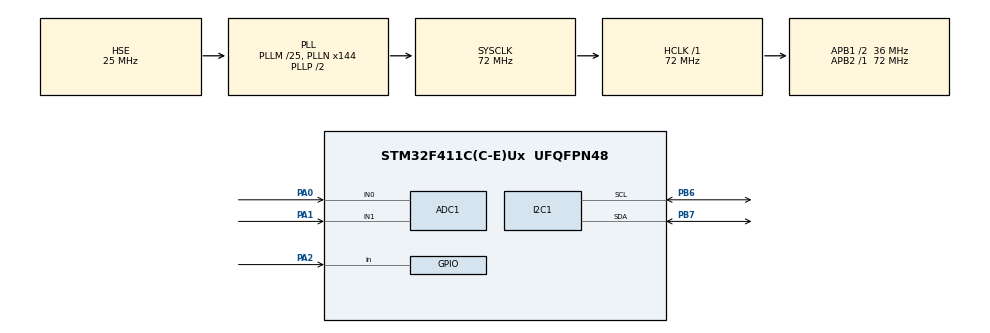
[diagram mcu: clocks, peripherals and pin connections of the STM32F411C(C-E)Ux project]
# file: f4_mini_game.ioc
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ADC1.Channel-0\#ChannelRegularConversion=ADC_CHANNEL_0
ADC1.Channel-1\#ChannelRegularConversion=ADC_CHANNEL_1
ADC1.DMAContinuousRequests=ENABLE
ADC1.ExternalTrigConv=ADC_EXTERNALTRIGCONV_T2_TRGO
ADC1.ExternalTrigConvEdge=ADC_EXTERNALTRIGCONVEDGE_RISING
ADC1.NbrOfConversion=2
ADC1.NbrOfConversionFlag=1
ADC1.Rank-0\#ChannelRegularConversion=1
ADC1.Rank-1\#ChannelRegularConversion=2
ADC1.SamplingTime-0\#ChannelRegularConversion=ADC_SAMPLETIME_3CYCLES
ADC1.SamplingTime-1\#ChannelRegularConversion=ADC_SAMPLETIME_15CYCLES
ADC1.ScanConvMode=ENABLE
ADC1.master=1
Dma.ADC1.0.Direction=DMA_PERIPH_TO_MEMORY
Dma.ADC1.0.FIFOMode=DMA_FIFOMODE_DISABLE
Dma.ADC1.0.Instance=DMA2_Stream0
Dma.ADC1.0.MemDataAlignment=DMA_MDATAALIGN_HALFWORD
Dma.ADC1.0.MemInc=DMA_MINC_ENABLE
Dma.ADC1.0.Mode=DMA_CIRCULAR
Dma.ADC1.0.PeriphDataAlignment=DMA_PDATAALIGN_HALFWORD
Dma.ADC1.0.PeriphInc=DMA_PINC_DISABLE
Dma.ADC1.0.Priority=DMA_PRIORITY_LOW
Dma.Request0=ADC1
Mcu.Family=STM32F4
Mcu.Name=STM32F411C(C-E)Ux
Mcu.Package=UFQFPN48
NVIC.DMA2_Stream0_IRQn=true\:0\:0\:false\:false\:true\:false\:true\:true
NVIC.PriorityGroup=NVIC_PRIORITYGROUP_4
PA0-WKUP.Signal=ADCx_IN0
PA1.Signal=ADCx_IN1
PA13.Mode=Serial_Wire
PA13.Signal=SYS_JTMS-SWDIO
PA14.Mode=Serial_Wire
PA14.Signal=SYS_JTCK-SWCLK
PA2.GPIO_PuPd=GPIO_PULLUP
PA2.Signal=GPIO_Input
PB6.Mode=I2C
PB6.Signal=I2C1_SCL
PB7.Mode=I2C
PB7.Signal=I2C1_SDA
PH0\ -\ OSC_IN.Mode=HSE-External-Oscillator
PH0\ -\ OSC_IN.Signal=RCC_OSC_IN
PH1\ -\ OSC_OUT.Mode=HSE-External-Oscillator
PH1\ -\ OSC_OUT.Signal=RCC_OSC_OUT
ProjectManager.HeapSize=0x200
ProjectManager.StackSize=0x400
ProjectManager.TargetToolchain=MDK-ARM V5
RCC.48MHZClocksFreq_Value=36000000
RCC.AHBFreq_Value=72000000
RCC.APB1CLKDivider=RCC_HCLK_DIV2
RCC.APB1Freq_Value=36000000
RCC.APB1TimFreq_Value=72000000
RCC.APB2Freq_Value=72000000
RCC.APB2TimFreq_Value=72000000
RCC.CortexFreq_Value=72000000
RCC.HCLKFreq_Value=72000000
RCC.HSE_VALUE=25000000
RCC.HSI_VALUE=16000000
RCC.LSE_VALUE=32768
RCC.PLLM=25
RCC.PLLN=144
RCC.PLLSourceVirtual=RCC_PLLSOURCE_HSE
RCC.SYSCLKFreq_VALUE=72000000
RCC.SYSCLKSource=RCC_SYSCLKSOURCE_PLLCLK
RCC.VCOOutputFreq_Value=144000000
SH.ADCx_IN0.0=ADC1_IN0,IN0
SH.ADCx_IN1.0=ADC1_IN1,IN1
TIM2.Channel-Output\ Compare4\ No\ Output=TIM_CHANNEL_4
TIM2.Period=8000
TIM2.Prescaler=720-1
TIM2.TIM_MasterOutputTrigger=TIM_TRGO_UPDATE
VP_TIM2_VS_ClockSourceINT.Mode=Internal
VP_TIM2_VS_no_output4.Mode=Output Compare4 No Output
board=custom

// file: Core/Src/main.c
/* USER CODE BEGIN Header */
/**
  ******************************************************************************
  * @file           : main.c
  * @brief          : Main program body
  ******************************************************************************
  * @attention
  *
  * Copyright (c) 2022 STMicroelectronics.
  * All rights reserved.
  *
  * This software is licensed under terms that can be found in the LICENSE file
  * in the root directory of this software component.
  * If no LICENSE file comes with this software, it is provided AS-IS.
  *
  ******************************************************************************
  */
/* USER CODE END Header */
#include "main.h"

/* USER CODE BEGIN Includes */
#include "i2c-lcd.h"
#include "stdlib.h" // this library is used to enable function random
#include "string.h"
/* USER CODE END Includes */

ADC_HandleTypeDef hadc1;
DMA_HandleTypeDef hdma_adc1;

I2C_HandleTypeDef hi2c1;

TIM_HandleTypeDef htim2;

/* USER CODE BEGIN PV */
uint16_t joy_adc[2] ; // save x and y coordinate of joystick
uint8_t joy_button ;  // save joystick's button state
uint8_t row = 4 , col = 10 ;  // original coordinate of human
const uint8_t OB = 2 ;   // quantity of obstacles
uint8_t obt_col_r1[OB] ;    //array
uint8_t obt_col_r2[OB] ;
uint8_t obt_col_r3[OB] ;
uint8_t obt_col_r4[OB] ;
uint8_t Free[OB];

uint16_t  i ;
uint16_t scr = 0 ;
char score[6] ;
/* USER CODE END PV */

void SystemClock_Config(void);
static void MX_GPIO_Init(void);
static void MX_DMA_Init(void);
static void MX_ADC1_Init(void);
static void MX_TIM2_Init(void);
static void MX_I2C1_Init(void);

/* USER CODE BEGIN 0 */
char cc1[] = { 0x04,  0x04,  0x0E,  0x0E,  0x1F,  0x1B,  0x1B,  0x0E};  // obstacle
char cc2[] = {0x0C,  0x1E,  0x02,  0x1F,  0x1F,  0x1E,  0x12,  0x00};  // human

void obtacles (uint8_t rw ,uint8_t cl ) {
		lcd_goto_XY(rw ,cl );
		lcd_send_data(0);
}
void human (uint8_t r ,uint8_t c ) {
		lcd_goto_XY(r ,c );
		lcd_send_data(1);
}

/* USER CODE END 0 */

int main(void)
{

  /* MCU Configuration--------------------------------------------------------*/

  /* Reset of all peripherals, Initializes the Flash interface and the Systick. */
  HAL_Init();

  /* Configure the system clock */
  SystemClock_Config();

  /* Initialize all configured peripherals */
  MX_GPIO_Init();
  MX_DMA_Init();
  MX_ADC1_Init();
  MX_TIM2_Init();
  MX_I2C1_Init();
  /* USER CODE BEGIN 2 */
HAL_ADC_Start_DMA(&hadc1 , (uint32_t *)	joy_adc , 2);
HAL_TIM_Base_Start_IT(&htim2);
HAL_TIM_PWM_Start(&htim2, TIM_CHANNEL_4);

HAL_Delay(50);
lcd_init();
  lcd_send_cmd(0x40);
  for (int i=0; i<8; i++) lcd_send_data(cc1[i]);
  lcd_send_cmd(0x40+8);
  for (int i=0; i<8; i++) lcd_send_data(cc2[i]);

lcd_goto_XY(2, 5 );
lcd_send_string("GAME START");
HAL_Delay(2000);
lcd_clear_display();
HAL_Delay(10);

//while (HAL_GPIO_ReadPin(GPIOA , GPIO_PIN_2)){
//lcd_goto_XY(2, 2 );
//lcd_send_string("press to begin");
//}
  /* USER CODE END 2 */

  /* Infinite loop */
  while (1)
  {

    /* USER CODE BEGIN 3 */
    Free[0] = 1 + rand() % (8 +  1 - 1) ;
		Free[1] = 8 + rand() % (15 + 1 - 8) ;
		//Free[2] = 1 + rand() % (15 + 1 - 1) ;
for ( uint8_t pp = 0 ; pp < 20 	; pp++) {
		lcd_clear_display();
		HAL_Delay(2);
	  //gan bien ngau nhien cho column
		for ( uint8_t s = 0 ; s < OB ; s++) {
			 obt_col_r1[s] = Free[s];
		 }
		//hien thi nguoi
	   human(row , col);
		//hien thi obtacle column tren 1 hang
	   for ( uint8_t x = 0 ; x < OB ; x++) {
			 obtacles(1,  obt_col_r1[x]);
		 }
     for ( uint8_t q = 0 ; q < OB ; q++) {
			 obtacles(2,  obt_col_r2[q]);
		 }
     for ( uint8_t w = 0 ; w < OB ; w++) {
			 obtacles(3,  obt_col_r3[w]);
		 }
		 for ( uint8_t o = 0 ; o < OB ; o++) {
			 obtacles(4,  obt_col_r4[o]);
		 }
     //hien thi diem
		 lcd_goto_XY(1, 16 );
	   lcd_send_string("score");
		 lcd_goto_XY(2, 16 );
   	 lcd_send_string(score);
		 //kiem tra human touch o  btacle
				if ((col == obt_col_r4[0] )||(col == obt_col_r4[1])) //if 2
				       {   while(1)
								     {
											 lcd_clear_display();
											 HAL_Delay(2);
											 lcd_goto_XY(2, 6 );
											 lcd_send_string("Game Over");
										   lcd_goto_XY(3, 6 );
										   lcd_send_string("score: ");
										   lcd_goto_XY(3, 13 );
   										 lcd_send_string(score);
											 HAL_Delay(200);
										 }
							 } // if 2
		 HAL_Delay(30);
  }
		 //gan column cho column
		 for ( uint8_t v = 0 ; v < OB ; v++) {  //4 <= 3
			 obt_col_r4[v] = obt_col_r3[v];
		 }
		 	for ( uint8_t m = 0 ; m < OB ; m++) {  //3 <= 2
			 obt_col_r3[m] = obt_col_r2[m];
		 }
			for ( uint8_t z = 0 ; z < OB ; z++) {  //2 <= 1
			 obt_col_r2[z] = obt_col_r1[z];
		 }
		scr +=1 ;
		sprintf(score , "%d", scr );
	} //while

  /* USER CODE END 3 */
}

void SystemClock_Config(void)
{
  RCC_OscInitTypeDef RCC_OscInitStruct = {0};
  RCC_ClkInitTypeDef RCC_ClkInitStruct = {0};

  /** Configure the main internal regulator output voltage
  */
  __HAL_RCC_PWR_CLK_ENABLE();
  __HAL_PWR_VOLTAGESCALING_CONFIG(PWR_REGULATOR_VOLTAGE_SCALE1);

  /** Initializes the RCC Oscillators according to the specified parameters
  * in the RCC_OscInitTypeDef structure.
  */
  RCC_OscInitStruct.OscillatorType = RCC_OSCILLATORTYPE_HSE;
  RCC_OscInitStruct.HSEState = RCC_HSE_ON;
  RCC_OscInitStruct.PLL.PLLState = RCC_PLL_ON;
  RCC_OscInitStruct.PLL.PLLSource = RCC_PLLSOURCE_HSE;
  RCC_OscInitStruct.PLL.PLLM = 25;
  RCC_OscInitStruct.PLL.PLLN = 144;
  RCC_OscInitStruct.PLL.PLLP = RCC_PLLP_DIV2;
  RCC_OscInitStruct.PLL.PLLQ = 4;
  if (HAL_RCC_OscConfig(&RCC_OscInitStruct) != HAL_OK)
  {
    Error_Handler();
  }

  /** Initializes the CPU, AHB and APB buses clocks
  */
  RCC_ClkInitStruct.ClockType = RCC_CLOCKTYPE_HCLK|RCC_CLOCKTYPE_SYSCLK
                              |RCC_CLOCKTYPE_PCLK1|RCC_CLOCKTYPE_PCLK2;
  RCC_ClkInitStruct.SYSCLKSource = RCC_SYSCLKSOURCE_PLLCLK;
  RCC_ClkInitStruct.AHBCLKDivider = RCC_SYSCLK_DIV1;
  RCC_ClkInitStruct.APB1CLKDivider = RCC_HCLK_DIV2;
  RCC_ClkInitStruct.APB2CLKDivider = RCC_HCLK_DIV1;

  if (HAL_RCC_ClockConfig(&RCC_ClkInitStruct, FLASH_LATENCY_2) != HAL_OK)
  {
    Error_Handler();
  }
}

static void MX_ADC1_Init(void)
{

  ADC_ChannelConfTypeDef sConfig = {0};

  /** Configure the global features of the ADC (Clock, Resolution, Data Alignment and number of conversion)
  */
  hadc1.Instance = ADC1;
  hadc1.Init.ClockPrescaler = ADC_CLOCK_SYNC_PCLK_DIV2;
  hadc1.Init.Resolution = ADC_RESOLUTION_12B;
  hadc1.Init.ScanConvMode = ENABLE;
  hadc1.Init.ContinuousConvMode = DISABLE;
  hadc1.Init.DiscontinuousConvMode = DISABLE;
  hadc1.Init.ExternalTrigConvEdge = ADC_EXTERNALTRIGCONVEDGE_RISING;
  hadc1.Init.ExternalTrigConv = ADC_EXTERNALTRIGCONV_T2_TRGO;
  hadc1.Init.DataAlign = ADC_DATAALIGN_RIGHT;
  hadc1.Init.NbrOfConversion = 2;
  hadc1.Init.DMAContinuousRequests = ENABLE;
  hadc1.Init.EOCSelection = ADC_EOC_SINGLE_CONV;
  if (HAL_ADC_Init(&hadc1) != HAL_OK)
  {
    Error_Handler();
  }

  /** Configure for the selected ADC regular channel its corresponding rank in the sequencer and its sample time.
  */
  sConfig.Channel = ADC_CHANNEL_0;
  sConfig.Rank = 1;
  sConfig.SamplingTime = ADC_SAMPLETIME_3CYCLES;
  if (HAL_ADC_ConfigChannel(&hadc1, &sConfig) != HAL_OK)
  {
    Error_Handler();
  }

  /** Configure for the selected ADC regular channel its corresponding rank in the sequencer and its sample time.
  */
  sConfig.Channel = ADC_CHANNEL_1;
  sConfig.Rank = 2;
  sConfig.SamplingTime = ADC_SAMPLETIME_15CYCLES;
  if (HAL_ADC_ConfigChannel(&hadc1, &sConfig) != HAL_OK)
  {
    Error_Handler();
  }

}

static void MX_I2C1_Init(void)
{

  hi2c1.Instance = I2C1;
  hi2c1.Init.ClockSpeed = 100000;
  hi2c1.Init.DutyCycle = I2C_DUTYCYCLE_2;
  hi2c1.Init.OwnAddress1 = 0;
  hi2c1.Init.AddressingMode = I2C_ADDRESSINGMODE_7BIT;
  hi2c1.Init.DualAddressMode = I2C_DUALADDRESS_DISABLE;
  hi2c1.Init.OwnAddress2 = 0;
  hi2c1.Init.GeneralCallMode = I2C_GENERALCALL_DISABLE;
  hi2c1.Init.NoStretchMode = I2C_NOSTRETCH_DISABLE;
  if (HAL_I2C_Init(&hi2c1) != HAL_OK)
  {
    Error_Handler();
  }

}

static void MX_TIM2_Init(void)
{

  TIM_ClockConfigTypeDef sClockSourceConfig = {0};
  TIM_MasterConfigTypeDef sMasterConfig = {0};
  TIM_OC_InitTypeDef sConfigOC = {0};

  htim2.Instance = TIM2;
  htim2.Init.Prescaler = 720-1;
  htim2.Init.CounterMode = TIM_COUNTERMODE_UP;
  htim2.Init.Period = 8000;
  htim2.Init.ClockDivision = TIM_CLOCKDIVISION_DIV1;
  htim2.Init.AutoReloadPreload = TIM_AUTORELOAD_PRELOAD_DISABLE;
  if (HAL_TIM_Base_Init(&htim2) != HAL_OK)
  {
    Error_Handler();
  }
  sClockSourceConfig.ClockSource = TIM_CLOCKSOURCE_INTERNAL;
  if (HAL_TIM_ConfigClockSource(&htim2, &sClockSourceConfig) != HAL_OK)
  {
    Error_Handler();
  }
  if (HAL_TIM_OC_Init(&htim2) != HAL_OK)
  {
    Error_Handler();
  }
  sMasterConfig.MasterOutputTrigger = TIM_TRGO_UPDATE;
  sMasterConfig.MasterSlaveMode = TIM_MASTERSLAVEMODE_DISABLE;
  if (HAL_TIMEx_MasterConfigSynchronization(&htim2, &sMasterConfig) != HAL_OK)
  {
    Error_Handler();
  }
  sConfigOC.OCMode = TIM_OCMODE_TIMING;
  sConfigOC.Pulse = 0;
  sConfigOC.OCPolarity = TIM_OCPOLARITY_HIGH;
  sConfigOC.OCFastMode = TIM_OCFAST_DISABLE;
  if (HAL_TIM_OC_ConfigChannel(&htim2, &sConfigOC, TIM_CHANNEL_4) != HAL_OK)
  {
    Error_Handler();
  }

}

static void MX_DMA_Init(void)
{

  /* DMA controller clock enable */
  __HAL_RCC_DMA2_CLK_ENABLE();

  /* DMA interrupt init */
  /* DMA2_Stream0_IRQn interrupt configuration */
  HAL_NVIC_SetPriority(DMA2_Stream0_IRQn, 0, 0);
  HAL_NVIC_EnableIRQ(DMA2_Stream0_IRQn);

}

static void MX_GPIO_Init(void)
{
  GPIO_InitTypeDef GPIO_InitStruct = {0};

  /* GPIO Ports Clock Enable */
  __HAL_RCC_GPIOH_CLK_ENABLE();
  __HAL_RCC_GPIOA_CLK_ENABLE();
  __HAL_RCC_GPIOB_CLK_ENABLE();

  /*Configure GPIO pin : PA2 */
  GPIO_InitStruct.Pin = GPIO_PIN_2;
  GPIO_InitStruct.Mode = GPIO_MODE_INPUT;
  GPIO_InitStruct.Pull = GPIO_PULLUP;
  HAL_GPIO_Init(GPIOA, &GPIO_InitStruct);

}

/* USER CODE BEGIN 4 */
void HAL_ADC_ConvCpltCallback(ADC_HandleTypeDef* hadc){
  /* This is called after the conversion is completed */
	//move to right
	if( ( joy_adc[0] > 1500 )&& ( joy_adc[0] < 2500 ) && (  joy_adc[1] < 500 ) ){
				col += 1;
		if (col >20) col = 20 ;
	}
	//move to left
	if( ( joy_adc[0] > 1500 )&& ( joy_adc[0] < 2500 ) && (  joy_adc[1] > 3500 ) ){
				col -= 1;
		if (col < 1) col = 1 ;
	}
/*	//move up
	if( ( joy_adc[0] < 500 )&& ( joy_adc[1] > 1500 ) && (  joy_adc[1] < 2500 ) ){
				row -= 1;
		if (row < 1) row = 1 ;
	}
	//move down
	if( ( joy_adc[0] >3500 )&& ( joy_adc[1] > 1500 ) && (  joy_adc[1] < 2500 ) ){
				row += 1;
		if (row > 4) row = 4 ;
	}  */

}
/* USER CODE END 4 */

void Error_Handler(void)
{
  __disable_irq();
  while (1)
  {
  }
}
